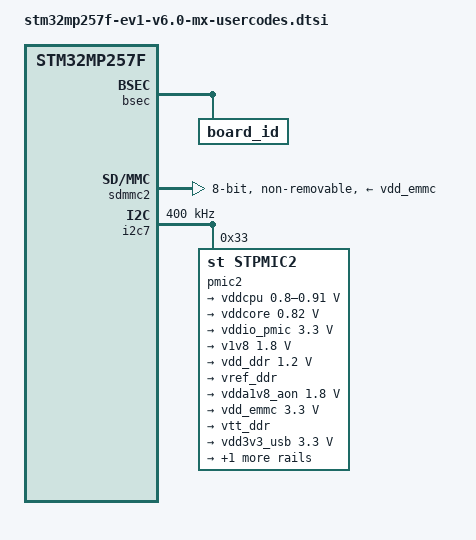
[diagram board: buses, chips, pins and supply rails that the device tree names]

/ {
	aliases {
		serial0 = &usart2;
	};

	chosen {
		stdout-path = "serial0:115200n8";
	};

	shadow-prov {
		compatible = "st,provisioning";
		hconf1_prov {
			/* VDDIO2/1 HSLV allowed */
			/* IWDG4/3/2/1 freeze in Stop/Stanby mode */
			nvmem-cells = <&hconf1_otp>;
			st,shadow-value = <0x00018DB6>;
		};
	};
};

&bsec {
	board_id: board_id@3d8 {
		reg = <0x3d8 0x4>;
	};
};

&ddr {
	vdd-supply = <&vdd_ddr>;
	vtt-supply = <&vtt_ddr>;
	vpp-supply = <&vpp_ddr>;
	vref-supply = <&vref_ddr>;
};

&iwdg1 {
	timeout-sec = <32>;
};

&pwr {
	vddio: vddio {
		vdd-supply = <&vddio_pmic>;
	};
	vddio2: vddio2 {
		vddio2-supply = <&v1v8>;
	};
};

&sdmmc2 {
	non-removable;
	no-sd;
	no-sdio;
	st,neg-edge;
	bus-width = <8>;
	vmmc-supply = <&vdd_emmc>;
	vqmmc-supply = <&vddio2>;
};

&i2c7 {
	clock-frequency = <400000>;

	pmic2: stpmic@33 {
		compatible = "st,stpmic2";
		reg = <0x33>;
		status = "okay";

		regulators {
			compatible = "st,stpmic2-regulators";

			vddcpu: buck1 {
				regulator-name = "vddcpu";
				regulator-min-microvolt = <800000>;
				regulator-max-microvolt = <910000>;
				regulator-always-on;
			};
			vddcore: buck2 {
				regulator-name = "vddcore";
				regulator-min-microvolt = <820000>;
				regulator-max-microvolt = <820000>;
				regulator-always-on;
			};
			vddio_pmic: buck4 {
				regulator-name = "vddio_pmic";
				regulator-min-microvolt = <3300000>;
				regulator-max-microvolt = <3300000>;
			};
			v1v8: buck5 {
				regulator-name = "v1v8";
				regulator-min-microvolt = <1800000>;
				regulator-max-microvolt = <1800000>;
			};
			vdd_ddr: buck6 {
				regulator-name = "vdd_ddr";
				regulator-min-microvolt = <1200000>;
				regulator-max-microvolt = <1200000>;
			};
			vref_ddr: refddr {
				regulator-name = "vref_ddr";
			};
			vdda1v8_aon: ldo1 {
				regulator-name = "vdda1v8_aon";
				regulator-min-microvolt = <1800000>;
				regulator-max-microvolt = <1800000>;
				regulator-always-on;
			};
			vdd_emmc: ldo2 {
				regulator-name = "vdd_emmc";
				regulator-min-microvolt = <3300000>;
				regulator-max-microvolt = <3300000>;
				regulator-always-on;
			};
			vtt_ddr: ldo3 {
				regulator-name = "vtt_ddr";
				st,regulator-sink-source;
			};
			vdd3v3_usb: ldo4 {
				regulator-name = "vdd3v3_usb";
				regulator-min-microvolt = <3300000>;
				regulator-max-microvolt = <3300000>;
				regulator-always-on;
			};
			vpp_ddr: ldo5 {
				regulator-name = "vpp_ddr";
				regulator-min-microvolt = <2500000>;
				regulator-max-microvolt = <2500000>;
				regulator-enable-ramp-delay = <1000>;
			};
		};
	};
};
